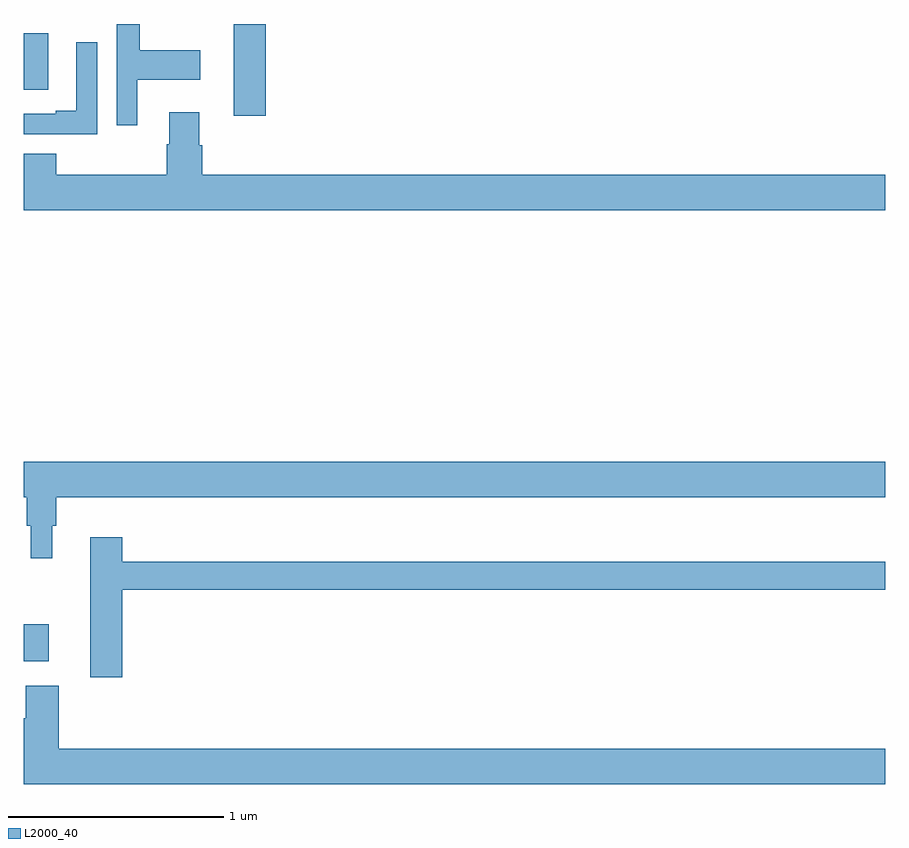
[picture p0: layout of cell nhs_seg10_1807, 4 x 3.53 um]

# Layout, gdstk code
import gdstk
lib = gdstk.Library(unit=1e-6, precision=1e-09)
def R(c, l, rs):  # rectangles x0, y0, x1, y1
    for r in rs: c.add(gdstk.rectangle(r[:2], r[2:], *l))
def P(c, l, *ps):  # polygons
    for p in ps: c.add(gdstk.Polygon(p, *l))
L2000_40 = (2000, 40)

nhs_seg10_1807 = lib.new_cell('nhs_seg10_1807')
R(nhs_seg10_1807, L2000_40, [(205,1311.542,205.117,1311.713), (205.976,1314.075,206.123,1314.5), (205,1314.194,205.114,1314.457)])
P(nhs_seg10_1807, L2000_40, [(205.528,1314.242),(205.819,1314.242),(205.819,1314.377),(205.54,1314.377),(205.54,1314.5),(205.431,1314.5),(205.431,1314.03),(205.528,1314.03)],
  [(205.341,1314.415),(205.244,1314.415),(205.244,1314.097),(205.148,1314.097),(205.148,1314.084),(205,1314.084),(205,1313.988),(205.341,1313.988)],
  [(209,1313.8),(205.829,1313.8),(205.829,1313.937),(205.816,1313.937),(205.816,1314.091),(205.676,1314.091),(205.676,1313.942),(205.664,1313.942),(205.664,1313.8),(205.151,1313.8),(205.151,1313.898),(205,1313.898),(205,1313.636),(209,1313.636)],
  [(205.132,1312.17),(205.151,1312.17),(205.151,1312.304),(209,1312.304),(209,1312.468),(205,1312.468),(205,1312.304),(205.015,1312.304),(205.015,1312.17),(205.034,1312.17),(205.034,1312.02),(205.132,1312.02)],
  [(205.457,1311.874),(209,1311.874),(209,1312.003),(205.457,1312.003),(205.457,1312.117),(205.31,1312.117),(205.31,1311.468),(205.457,1311.468)],
  [(209,1311.136),(205.163,1311.136),(205.163,1311.427),(205.01,1311.427),(205.01,1311.278),(205,1311.278),(205,1310.972),(209,1310.972)])

lib.write_gds('nhs_seg10_1807.gds')
